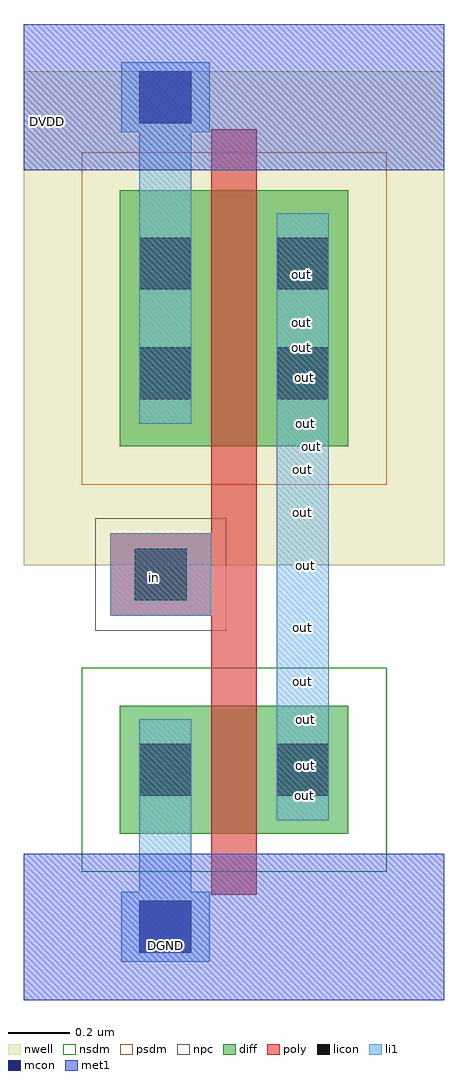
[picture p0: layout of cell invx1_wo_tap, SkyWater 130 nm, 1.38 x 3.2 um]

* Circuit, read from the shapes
.subckt invx1_wo_tap DGND DVDD in out
XM1 out in DGND VSUBS sky130_fd_pr__nfet_01v8 w=0.42 l=0.15
XM2 out in DVDD n1 sky130_fd_pr__pfet_01v8 w=0.84 l=0.15
.ends

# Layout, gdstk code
import gdstk
lib = gdstk.Library(unit=1e-6, precision=1e-09)
def R(c, l, rs):  # rectangles x0, y0, x1, y1
    for r in rs: c.add(gdstk.rectangle(r[:2], r[2:], *l))
nwell = (64, 20)
diff = (65, 20)
poly = (66, 20)
licon = (66, 44)
li1 = (67, 20)
mcon = (67, 44)
met1 = (68, 20)
nsdm = (93, 44)
psdm = (94, 20)
npc = (95, 20)

pfet_1 = lib.new_cell('pfet$1')
R(pfet_1, nwell, [(-0.315,-0.39,1.065,1.23)])
R(pfet_1, diff, [(0,0,0.75,0.84)])
R(pfet_1, poly, [(0.3,-0.2,0.45,1.04)])
R(pfet_1, licon, [(0.065,0.155,0.235,0.325), (0.515,0.155,0.685,0.325), (0.065,0.515,0.235,0.685), (0.515,0.515,0.685,0.685)])
R(pfet_1, li1, [(0.065,0.075,0.235,0.765), (0.515,0.075,0.685,0.765)])
R(pfet_1, psdm, [(-0.125,-0.125,0.875,0.965)])

nfet = lib.new_cell('nfet')
R(nfet, diff, [(0,0,0.75,0.42)])
R(nfet, poly, [(0.3,-0.2,0.45,0.62)])
R(nfet, licon, [(0.065,0.125,0.235,0.295), (0.515,0.125,0.685,0.295)])
R(nfet, li1, [(0.065,0.045,0.235,0.375), (0.515,0.045,0.685,0.375)])
R(nfet, nsdm, [(-0.125,-0.125,0.875,0.545)])

vias_gen_2 = lib.new_cell('vias_gen$2')
R(vias_gen_2, poly, [(0,0,0.33,0.27)])
R(vias_gen_2, licon, [(0.08,0.05,0.25,0.22)])
R(vias_gen_2, li1, [(0,0,0.33,0.27)])
R(vias_gen_2, npc, [(-0.05,-0.05,0.38,0.32)])

vias_gen_3 = lib.new_cell('vias_gen$3')
R(vias_gen_3, li1, [(0,0,0.29,0.23)])
R(vias_gen_3, mcon, [(0.06,0.03,0.23,0.2)])
R(vias_gen_3, met1, [(0,0,0.29,0.23)])

invx1_wo_tap = lib.new_cell('invx1_wo_tap')
R(invx1_wo_tap, met1, [(-0.48,-1.075,0.9,-0.595), (-0.48,1.645,0.9,2.125)])
invx1_wo_tap.add(gdstk.FlexPath([(0.435,0.815),(0.435,-0.155)], 0.17, ends="flush", simple_path=True, layer=67, datatype=20))  # li1
invx1_wo_tap.add(gdstk.FlexPath([(-0.015,-0.485),(-0.015,-0.72)], 0.17, ends="flush", simple_path=True, layer=67, datatype=20))  # li1
invx1_wo_tap.add(gdstk.FlexPath([(-0.015,1.505),(-0.015,1.77)], 0.17, ends="flush", simple_path=True, layer=67, datatype=20))  # li1
invx1_wo_tap.add(gdstk.FlexPath([(0.21,0.09),(0.21,0.54)], 0.15, ends="flush", simple_path=True, layer=66, datatype=20))  # poly
invx1_wo_tap.add(gdstk.Reference(pfet_1, (-0.165,0.74)))
invx1_wo_tap.add(gdstk.Reference(nfet, (-0.165,-0.53)))
invx1_wo_tap.add(gdstk.Reference(vias_gen_2, (-0.195,0.185)))
invx1_wo_tap.add(gdstk.Reference(vias_gen_3, (-0.16,-0.95)))
invx1_wo_tap.add(gdstk.Reference(vias_gen_3, (-0.16,1.77)))
invx1_wo_tap.add(gdstk.Label('in', (-0.05,0.31), layer=67, texttype=5))
invx1_wo_tap.add(gdstk.Label('out', (0.43,1.305), layer=67, texttype=5))
invx1_wo_tap.add(gdstk.Label('out', (0.43,1.145), layer=67, texttype=5))
invx1_wo_tap.add(gdstk.Label('out', (0.43,1.065), layer=67, texttype=5))
invx1_wo_tap.add(gdstk.Label('out', (0.445,0.815), layer=67, texttype=5))
invx1_wo_tap.add(gdstk.Label('out', (0.435,0.525), layer=67, texttype=5))
invx1_wo_tap.add(gdstk.Label('out', (0.445,0.35), layer=67, texttype=5))
invx1_wo_tap.add(gdstk.Label('out', (0.435,0.145), layer=67, texttype=5))
invx1_wo_tap.add(gdstk.Label('out', (0.435,-0.03), layer=67, texttype=5))
invx1_wo_tap.add(gdstk.Label('out', (0.445,-0.155), layer=67, texttype=5))
invx1_wo_tap.add(gdstk.Label('out', (0.445,-0.305), layer=67, texttype=5))
invx1_wo_tap.add(gdstk.Label('out', (0.44,-0.405), layer=67, texttype=5))
invx1_wo_tap.add(gdstk.Label('out', (0.465,0.74), layer=67, texttype=5))
invx1_wo_tap.add(gdstk.Label('out', (0.435,0.665), layer=67, texttype=5))
invx1_wo_tap.add(gdstk.Label('out', (0.44,0.965), layer=67, texttype=5))
invx1_wo_tap.add(gdstk.Label('DVDD', (-0.4,1.805), layer=68, texttype=5))
invx1_wo_tap.add(gdstk.Label('DGND', (-0.015,-0.895), layer=68, texttype=5))

lib.write_gds('invx1_wo_tap.gds')
